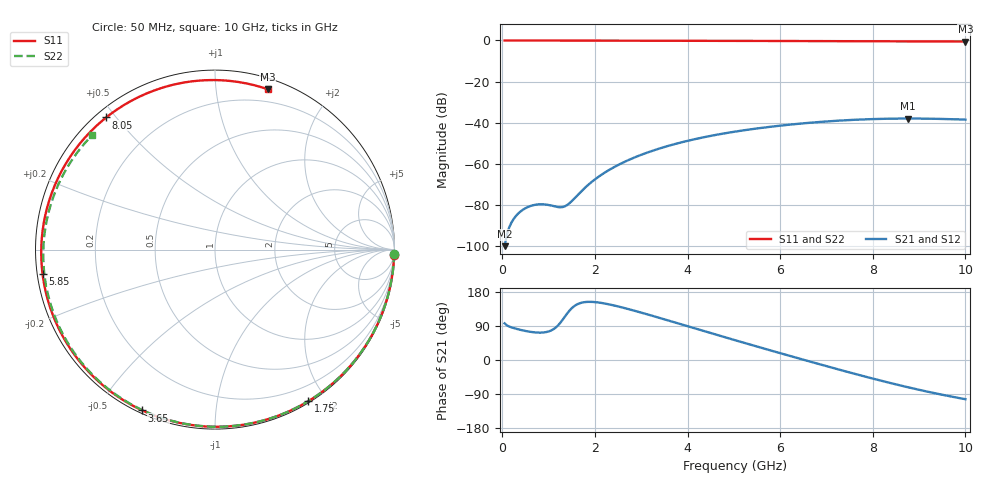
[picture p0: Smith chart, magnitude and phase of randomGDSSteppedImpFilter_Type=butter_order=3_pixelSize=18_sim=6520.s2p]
! freq	dB(S11)	phase(S11)	dB(S12)	phase(S12)
!  dB(S21)	phase(S21)	dB(S22)	phase(S22)
!S-par simulation data
#  GHz  S  DB  R 50
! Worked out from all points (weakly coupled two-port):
!   200 points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, 50 MHz to 10 GHz, reference 50 ohm
!   highest |S21| = -38.03 dB at 8.75 GHz (marker M1); lowest = -100.2 dB at 50 MHz (marker M2)
!   lowest |S11| = -0.5 dB at 10 GHz (marker M3), VSWR 32.65, Z = 4.45 + j68.9 ohm
!   |S11| at or under -10 dB: nowhere
!   |S22| runs from -0.6 to 0.0 dB; largest |S21 - S12| = 0
!   S11 on the Smith chart (normalised r, x): 50 MHz: 2, -69; 1.75 GHz: 0.02, -1.79; 3.65 GHz: 0.01, -0.64; 5.85 GHz: 0.02, -0.07; 8.05 GHz: 0.03, +0.47; 10 GHz: 0.09, +1.38
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0.05  -0.01 -1.7  -100.18 96.7  -100.18 96.7  -0.01 -1.3
0.4  -0.02 -13.7  -83.17 79.3  -83.17 79.3  -0.02 -10.7
0.7  -0.03 -23.9  -80.07 72.9  -80.07 72.9  -0.02 -18.7
1.4  -0.06 -47.1  -80.16 122.7  -80.16 122.7  -0.05 -37.1
1.5  -0.06 -50.3  -78.23 136.7  -78.23 136.7  -0.05 -39.6
1.75  -0.07 -58.3  -72.48 152.2  -72.48 152.2  -0.06 -46.0
2.05  -0.08 -67.7  -66.83 152.2  -66.83 152.2  -0.07 -53.5
2.45  -0.10 -79.9  -61.25 142.8  -61.25 142.8  -0.08 -63.4
2.9  -0.12 -93.2  -56.57 128.5  -56.57 128.5  -0.09 -74.1
3.4  -0.13 -107.4  -52.58 110.9  -52.58 110.9  -0.11 -85.7
3.65  -0.14 -114.4  -50.92 101.9  -50.92 101.9  -0.12 -91.3
4.35  -0.18 -133.2  -47.14 76.6  -47.14 76.6  -0.15 -106.6
5.05  -0.21 -151.5  -44.31 51.4  -44.31 51.4  -0.18 -121.3
5.85  -0.26 -172.0  -41.88 23.3  -41.88 23.3  -0.22 -137.5
6.3  -0.29 176.4  -40.79 7.7  -40.79 7.7  -0.25 -146.5
6.7  -0.32 165.9  -39.97 -6.0  -39.97 -6.0  -0.28 -154.4
7.35  -0.36 148.7  -38.94 -27.9  -38.94 -27.9  -0.33 -167.3
8.05  -0.41 129.5  -38.26 -50.6  -38.26 -50.6  -0.39 178.7
8.35  -0.43 121.0  -38.11 -59.9  -38.11 -59.9  -0.42 172.6
8.75  -0.46 109.4  -38.03 -71.7  -38.03 -71.7  -0.46 164.3
9.4  -0.50 90.1  -38.18 -89.2  -38.18 -89.2  -0.52 150.5
10  -0.53 71.8  -38.54 -103.5  -38.54 -103.5  -0.58 137.1
